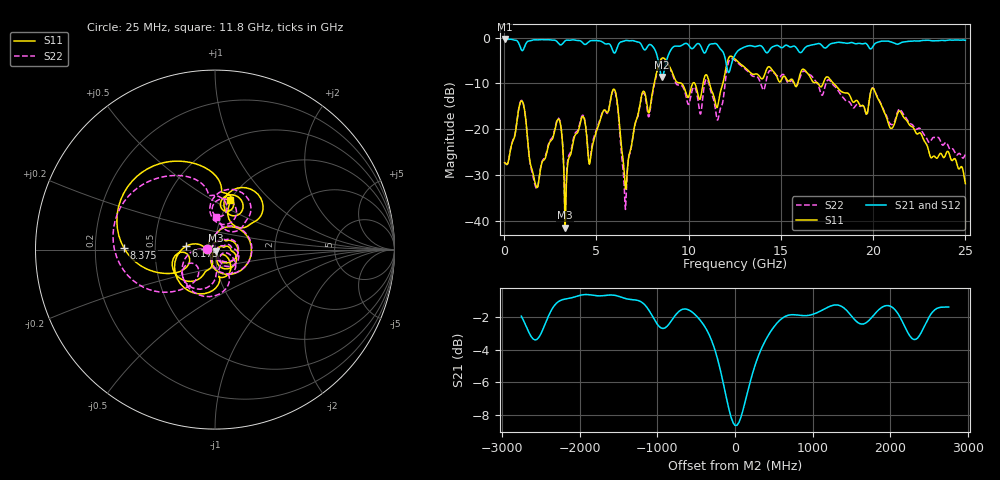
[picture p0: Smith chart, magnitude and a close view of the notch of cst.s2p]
! RG_s4_pwr_n4_cap2: Finite board 24 × 16 mm, via L1 → L4 through the GND/PWR pair L2/L3, four GND vias at 1 mm joined to L2 only (openings in the PWR plane L3), a capacitor between L2 and L3 2 mm away
! stackup: 4-layer 1.6 mm FR-4
! ports: 1 L1, 2 L4
! CST Studio Suite 2025.5 Release from 2025-05-30, time domain (FIT, hexahedral, PBA), 307086 mesh cells, 77 s
! mesh: {'lpw': 20, 'lpb': 20, 'minstep': 0.0, 'ratio': 20}; ports: port 1 (face); port 2 (face)
! interpolated from CST's 1001 samples to the case grid
# Hz S RI R 50
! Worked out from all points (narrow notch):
!   1000 points, 25 MHz to 25 GHz, reference 50 ohm
!   highest |S21| = -0.33 dB at 25 MHz (marker M1); lowest = -8.6 dB at 8.55 GHz (marker M2)
!   notch at M2: 7.3 dB deep, 460 MHz wide at half that depth
!   lowest |S11| = -41.6 dB at 3.3 GHz (marker M3), VSWR 1.02, Z = 50.5 - j0.65 ohm
!   |S11| at or under -10 dB: start of sweep to 8.135 GHz; 11.13 GHz to 11.86 GHz (731 MHz wide, 6.36 % of centre); 17.85 GHz to end of sweep (the widest 3 of 7)
!   |S22| runs from -41.2 to -4.6 dB; largest |S21 - S12| = 8.7e-07
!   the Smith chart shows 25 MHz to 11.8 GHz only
!   S11 on the Smith chart (normalised r, x): 25 MHz: 0.92, +0.01; 6.175 GHz: 0.72, +0.03; 8.375 GHz: 0.33, +0.01; 11.8 GHz: 1.01, +0.60
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2.5e7  -0.0427 0.00486  0.9625 -0.0135  0.9625 -0.0135  -0.043 0.00501
9.5e8  0.2028 -0.0136  0.6581 -0.3108  0.6581 -0.3108  0.2059 -0.00563
1.7e9  -0.0202 0.0146  0.7594 -0.5633  0.7594 -0.5633  -0.0186 0.0141
2.925e9  0.1281 -0.00529  0.2838 -0.8276  0.2838 -0.8276  0.1311 0.00594
3.3e9  0.00533 -0.00644  0.2825 -0.875  0.2825 -0.875  0.00786 -0.00371
4.2e9  0.1201 -0.055  -0.1629 -0.8848  -0.1629 -0.8848  0.1325 -0.0343
4.65e9  0.0314 -0.0294  -0.2401 -0.8843  -0.2401 -0.8843  0.0407 -0.0221
5.9e9  -0.1157 -0.2422  -0.5569 -0.4411  -0.5569 -0.4411  -0.0314 -0.2623
6.175e9  -0.1627 0.0181  -0.5493 -0.6136  -0.5493 -0.6136  -0.152 -0.0302
6.575e9  -0.0201 -0.00952  -0.7921 -0.4815  -0.7921 -0.4815  -0.00556 -0.012
7.45e9  -0.1516 -0.1766  -0.826 0.0368  -0.826 0.0368  -0.0618 -0.2177
7.875e9  -0.1416 -0.064  -0.8325 0.0982  -0.8325 0.0982  -0.0917 -0.1098
8.35e9  -0.4873 -0.0216  -0.4655 0.3132  -0.4655 0.3132  -0.4295 -0.192
8.375e9  -0.5072 0.00875  -0.4385 0.2968  -0.4385 0.2968  -0.4586 -0.1701
8.55e9  -0.5245 0.2794  -0.3562 0.1021  -0.3562 0.1021  -0.5683 0.0805
9.725e9  0.1006 0.2757  -0.7358 0.4175  -0.7358 0.4175  0.05 0.2751
1.18e10  0.0863 0.275  0.0615 0.7197  0.0615 0.7197  0.00806 0.1822
1.2525e10  0.5539 0.1717  -0.1439 0.6374  -0.1439 0.6374  0.4613 0.3171
1.6675e10  0.00449 -0.343  0.8291 0.0415  0.8291 0.0415  0.086 -0.369
2.0025e10  -0.2496 -0.1157  0.2839 -0.7711  0.2839 -0.7711  -0.1623 -0.226
2.085e10  -0.1097 0.0176  -0.0936 -0.9059  -0.0936 -0.9059  -0.106 -0.0571
2.5e10  0.0248 0.00462  -0.9059 0.2216  -0.9059 0.2216  -0.0514 0.0128
